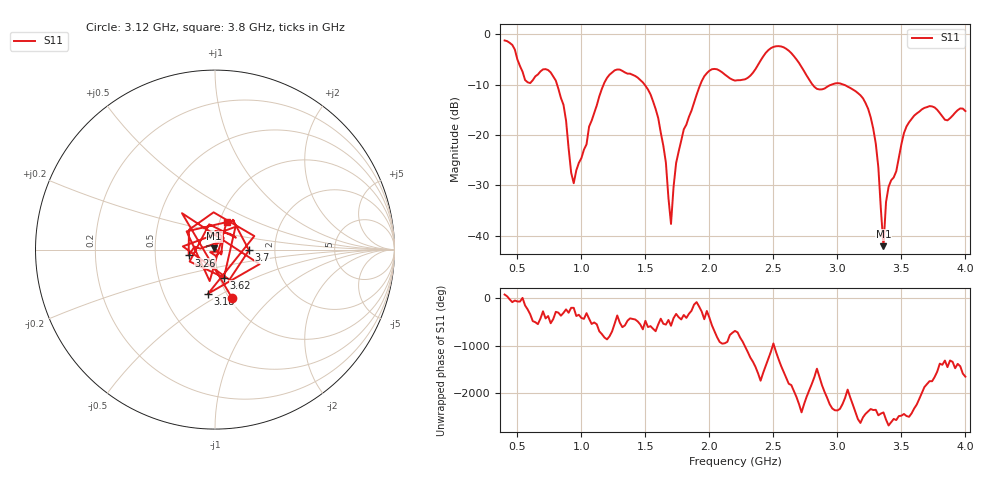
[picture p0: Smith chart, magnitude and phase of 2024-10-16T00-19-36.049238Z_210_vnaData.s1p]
! Created with skrf (http://scikit-rf.org).
# Hz S RI R 50.0
!freq ReS11 ImS11
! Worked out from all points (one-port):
!   181 points, 400 MHz to 4 GHz, reference 50 ohm
!   lowest |S11| = -42.1 dB at 3.36 GHz (marker M1), VSWR 1.02, Z = 49.6 + j0.661 ohm
!   |S11| at or under -10 dB: 810.3 MHz to 1.173 GHz (362.7 MHz wide, 36.6 % of centre); 1.494 GHz to 1.929 GHz (434.4 MHz wide, 25.4 % of centre); 3.051 GHz to end of sweep (the widest 3 of 4)
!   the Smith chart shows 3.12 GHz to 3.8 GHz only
!   S11 on the Smith chart (normalised r, x): 3.12 GHz: 1.03, -0.60; 3.18 GHz: 0.82, -0.43; 3.26 GHz: 0.74, -0.05; 3.62 GHz: 1.05, -0.34; 3.7 GHz: 1.47, -0.01; 3.8 GHz: 1.08, +0.34
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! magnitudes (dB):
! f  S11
! 400 MHz  -1.2
! 580 MHz  -9.5
! 760 MHz  -7.6
! 860 MHz  -14.0
! 940 MHz  -29.6
! 1.16 GHz  -10.8
! 1.3 GHz  -7.0
! 1.58 GHz  -14.8
! 1.66 GHz  -25.5
! 1.7 GHz  -37.7
! 1.76 GHz  -23.3
! 1.96 GHz  -8.3
! 2.2 GHz  -9.2
! 2.5 GHz  -2.5
! 2.66 GHz  -4.3
! 2.84 GHz  -10.8
! 3.1 GHz  -10.6
! 3.12 GHz  -10.9
! 3.18 GHz  -12.1
! 3.26 GHz  -16.5
! 3.32 GHz  -26.5
! 3.36 GHz  -42.1
! 3.4 GHz  -30.3
! 3.56 GHz  -17.5
! 3.62 GHz  -15.7
! 3.7 GHz  -14.5
! 3.8 GHz  -15.6
! 4 GHz  -15.2
